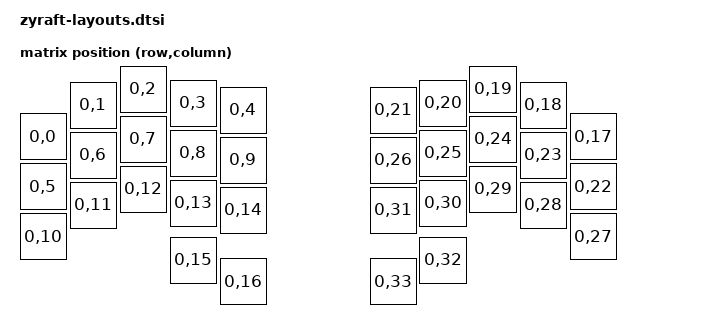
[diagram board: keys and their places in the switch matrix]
/*
 * Zyra FT - layouts (matrix transform + physical layout)
 * 34 klawisze: 5 col × 3 row + 2 thumb na stronę
 */

#include <dt-bindings/zmk/matrix_transform.h>
#include <physical_layouts.dtsi>

/ {
    chosen {
        zmk,physical-layout = &zyraft_physical_layout;
    };

    default_transform: keymap_transform_0 {
        compatible = "zmk,matrix-transform";
        columns = <34>;
        rows = <1>;
        map = <
        RC(0,0)  RC(0,1)  RC(0,2)  RC(0,3)  RC(0,4)    RC(0,21) RC(0,20) RC(0,19) RC(0,18) RC(0,17)
        RC(0,5)  RC(0,6)  RC(0,7)  RC(0,8)  RC(0,9)    RC(0,26) RC(0,25) RC(0,24) RC(0,23) RC(0,22)
        RC(0,10) RC(0,11) RC(0,12) RC(0,13) RC(0,14)   RC(0,31) RC(0,30) RC(0,29) RC(0,28) RC(0,27)
                                   RC(0,15) RC(0,16)   RC(0,33) RC(0,32)
        >;
    };

    zyraft_physical_layout: zyraft_physical_layout {
        compatible = "zmk,physical-layout";
        display-name = "Zyra FT";
        transform = <&default_transform>;

        keys
            //                     w   h    x    y     rot    rx    ry
            = <&key_physical_attrs 100 100    0   95       0     0     0>
            , <&key_physical_attrs 100 100  100   32       0     0     0>
            , <&key_physical_attrs 100 100  200    0       0     0     0>
            , <&key_physical_attrs 100 100  300   28       0     0     0>
            , <&key_physical_attrs 100 100  400   42       0     0     0>
            , <&key_physical_attrs 100 100  700   42       0     0     0>
            , <&key_physical_attrs 100 100  800   28       0     0     0>
            , <&key_physical_attrs 100 100  900    0       0     0     0>
            , <&key_physical_attrs 100 100 1000   32       0     0     0>
            , <&key_physical_attrs 100 100 1100   95       0     0     0>
            , <&key_physical_attrs 100 100    0  195       0     0     0>
            , <&key_physical_attrs 100 100  100  132       0     0     0>
            , <&key_physical_attrs 100 100  200  100       0     0     0>
            , <&key_physical_attrs 100 100  300  128       0     0     0>
            , <&key_physical_attrs 100 100  400  142       0     0     0>
            , <&key_physical_attrs 100 100  700  142       0     0     0>
            , <&key_physical_attrs 100 100  800  128       0     0     0>
            , <&key_physical_attrs 100 100  900  100       0     0     0>
            , <&key_physical_attrs 100 100 1000  132       0     0     0>
            , <&key_physical_attrs 100 100 1100  195       0     0     0>
            , <&key_physical_attrs 100 100    0  295       0     0     0>
            , <&key_physical_attrs 100 100  100  232       0     0     0>
            , <&key_physical_attrs 100 100  200  200       0     0     0>
            , <&key_physical_attrs 100 100  300  228       0     0     0>
            , <&key_physical_attrs 100 100  400  242       0     0     0>
            , <&key_physical_attrs 100 100  700  242       0     0     0>
            , <&key_physical_attrs 100 100  800  228       0     0     0>
            , <&key_physical_attrs 100 100  900  200       0     0     0>
            , <&key_physical_attrs 100 100 1000  232       0     0     0>
            , <&key_physical_attrs 100 100 1100  295       0     0     0>
            , <&key_physical_attrs 100 100  300  342       0     0     0>
            , <&key_physical_attrs 100 100  400  385       0     0     0>
            , <&key_physical_attrs 100 100  700  385       0     0     0>
            , <&key_physical_attrs 100 100  800  342       0     0     0>
            ;
    };
};
